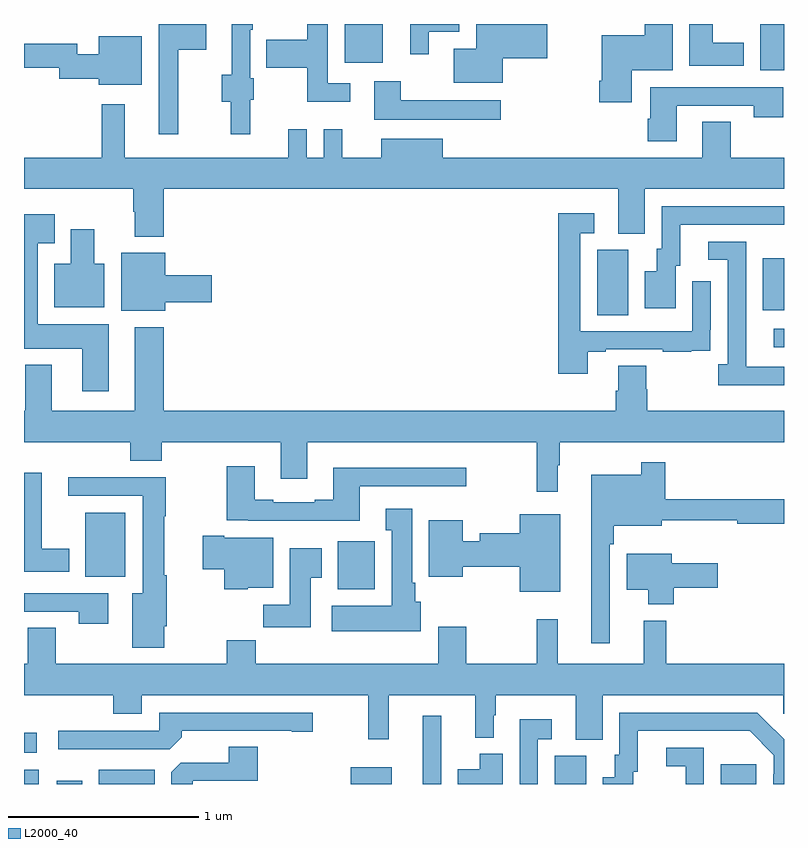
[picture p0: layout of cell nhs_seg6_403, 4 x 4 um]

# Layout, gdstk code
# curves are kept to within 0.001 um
import gdstk
lib = gdstk.Library(unit=1e-6, precision=1e-09)
def R(c, l, rs):  # rectangles x0, y0, x1, y1
    for r in rs: c.add(gdstk.rectangle(r[:2], r[2:], *l))
def P(c, l, *ps):  # polygons
    for p in ps: c.add(gdstk.Polygon(p, *l))
L2000_40 = (2000, 40)

nhs_seg6_403 = lib.new_cell('nhs_seg6_403')
R(nhs_seg6_403, L2000_40, [(133,981.5,133.078,981.574), (133.172,981.5,133.306,981.517), (133.394,981.5,133.687,981.574), (134.72,981.5,134.935,981.589), (135.098,981.5,135.195,981.859), (135.794,981.5,135.958,981.648), (136.667,981.5,136.855,981.604), (133,981.665,133.066,981.769), (134.651,982.526,134.847,982.777), (133.322,982.592,133.534,982.927), (136.947,983.799,137,983.895), (136.016,983.968,136.18,984.312), (136.889,983.993,137,984.268), (136.874,985.256,137,985.5), (134.687,985.295,134.887,985.5)])
P(nhs_seg6_403, L2000_40, [(136.198,985.256),(136.414,985.256),(136.414,985.5),(136.268,985.5),(136.268,985.441),(136.04,985.441),(136.04,985.201),(136.028,985.201),(136.028,985.089),(136.198,985.089)],
  [(135.52,985.319),(135.754,985.319),(135.754,985.5),(135.38,985.5),(135.38,985.369),(135.263,985.369),(135.263,985.19),(135.52,985.19)],
  [(134.192,985.101),(134.208,985.101),(134.208,985.215),(134.19,985.215),(134.19,985.469),(134.203,985.469),(134.203,985.5),(134.093,985.5),(134.093,985.232),(134.042,985.232),(134.042,985.09),(134.089,985.09),(134.089,984.921),(134.192,984.921)],
  [(134.716,985.188),(134.598,985.188),(134.598,985.5),(134.49,985.5),(134.49,985.417),(134.275,985.417),(134.275,985.27),(134.49,985.27),(134.49,985.091),(134.716,985.091)],
  [(133.813,985.364),(133.96,985.364),(133.96,985.5),(133.709,985.5),(133.709,984.921),(133.813,984.921)],
  [(136.789,985.402),(136.624,985.402),(136.624,985.5),(136.502,985.5),(136.502,985.28),(136.789,985.28)],
  [(135.13,985.458),(135.292,985.458),(135.292,985.5),(135.032,985.5),(135.032,985.341),(135.13,985.341)],
  [(133.621,985.435),(133.394,985.435),(133.394,985.34),(133.281,985.34),(133.281,985.397),(133,985.397),(133,985.269),(133.185,985.269),(133.185,985.212),(133.394,985.212),(133.394,985.181),(133.621,985.181)],
  [(135.508,985.099),(134.983,985.099),(134.983,985.198),(134.843,985.198),(134.843,984.995),(135.508,984.995)],
  [(136.435,985.071),(136.84,985.071),(136.84,985.008),(136.996,985.008),(136.996,985.167),(136.295,985.167),(136.295,985.001),(136.283,985.001),(136.283,984.882),(136.435,984.882)],
  [(133.736,984.632),(136.127,984.632),(136.127,984.397),(136.267,984.397),(136.267,984.632),(137,984.632),(137,984.796),(136.719,984.796),(136.719,984.986),(136.571,984.986),(136.571,984.796),(135.205,984.796),(135.205,984.895),(134.879,984.895),(134.879,984.796),(134.675,984.796),(134.675,984.946),(134.577,984.946),(134.577,984.796),(134.487,984.796),(134.487,984.946),(134.39,984.946),(134.39,984.796),(133.531,984.796),(133.531,985.078),(133.41,985.078),(133.41,984.796),(133,984.796),(133,984.632),(133.576,984.632),(133.576,984.512),(133.583,984.512),(133.583,984.38),(133.736,984.38)],
  [(136.429,984.228),(136.453,984.228),(136.453,984.444),(137,984.444),(137,984.54),(136.356,984.54),(136.356,984.318),(136.331,984.318),(136.331,984.199),(136.268,984.199),(136.268,984.003),(136.429,984.003)],
  [(135.967,983.775),(136.063,983.775),(136.063,983.787),(136.363,983.787),(136.363,983.775),(136.511,983.775),(136.511,983.781),(136.613,983.781),(136.613,983.89),(136.614,983.89),(136.614,984.145),(136.518,984.145),(136.518,983.883),(135.927,983.883),(135.927,984.399),(136,984.399),(136,984.505),(135.811,984.505),(135.811,983.658),(135.967,983.658)],
  [(133.447,983.92),(133.072,983.92),(133.072,984.347),(133.162,984.347),(133.162,984.499),(133,984.499),(133,983.792),(133.307,983.792),(133.307,983.568),(133.447,983.568)],
  [(133.423,984.238),(133.369,984.238),(133.369,984.421),(133.247,984.421),(133.247,984.238),(133.16,984.238),(133.16,984.008),(133.423,984.008)],
  [(137,983.697),(136.801,983.697),(136.801,983.897),(136.8,983.897),(136.8,984.354),(136.602,984.354),(136.602,984.258),(136.704,984.258),(136.704,983.71),(136.653,983.71),(136.653,983.6),(137,983.6)],
  [(133.744,984.035),(133.987,984.035),(133.987,984.177),(133.744,984.177),(133.744,984.295),(133.511,984.295),(133.511,983.99),(133.744,983.99)],
  [(133.007,983.707),(133.007,983.464),(133,983.464),(133,983.3),(133.559,983.3),(133.559,983.201),(133.724,983.201),(133.724,983.3),(134.351,983.3),(134.351,983.106),(134.491,983.106),(134.491,983.3),(135.699,983.3),(135.699,983.037),(135.808,983.037),(135.808,983.177),(135.82,983.177),(135.82,983.3),(137,983.3),(137,983.464),(136.28,983.464),(136.28,983.577),(136.275,983.577),(136.275,983.702),(136.127,983.702),(136.127,983.57),(136.115,983.57),(136.115,983.464),(133.736,983.464),(133.736,983.905),(133.583,983.905),(133.583,983.464),(133.147,983.464),(133.147,983.707)],
  [(136.083,982.763),(136.103,982.763),(136.103,982.859),(136.357,982.859),(136.357,982.888),(136.753,982.888),(136.753,982.87),(137,982.87),(137,982.999),(136.376,982.999),(136.376,983.194),(136.248,983.194),(136.248,983.128),(135.986,983.128),(135.986,982.242),(136.083,982.242)],
  [(134.767,983.067),(135.328,983.067),(135.328,983.164),(134.627,983.164),(134.627,982.996),(134.531,982.996),(134.531,982.983),(134.311,982.983),(134.311,982.996),(134.215,982.996),(134.215,983.173),(134.068,983.173),(134.068,982.887),(134.179,982.887),(134.179,982.886),(134.767,982.886)],
  [(133.237,982.738),(133.093,982.738),(133.093,983.137),(133,983.137),(133,982.616),(133.237,982.616)],
  [(133.738,982.33),(133.751,982.33),(133.751,982.6),(133.738,982.6),(133.738,982.909),(133.746,982.909),(133.746,983.114),(133.233,983.114),(133.233,983.016),(133.625,983.016),(133.625,982.504),(133.571,982.504),(133.571,982.218),(133.738,982.218)],
  [(135.088,982.458),(135.058,982.458),(135.058,982.558),(135.043,982.558),(135.043,982.948),(134.903,982.948),(134.903,982.835),(134.936,982.835),(134.936,982.438),(134.619,982.438),(134.619,982.304),(135.088,982.304)],
  [(135.823,982.921),(135.608,982.921),(135.608,982.819),(135.398,982.819),(135.398,982.777),(135.31,982.777),(135.31,982.888),(135.131,982.888),(135.131,982.592),(135.31,982.592),(135.31,982.643),(135.608,982.643),(135.608,982.511),(135.823,982.511)],
  [(134.178,982.532),(134.311,982.532),(134.311,982.795),(134.053,982.795),(134.053,982.807),(133.941,982.807),(133.941,982.63),(134.053,982.63),(134.053,982.526),(134.178,982.526)],
  [(134.509,982.585),(134.566,982.585),(134.566,982.741),(134.399,982.741),(134.399,982.444),(134.26,982.444),(134.26,982.326),(134.509,982.326)],
  [(136.421,982.534),(136.651,982.534),(136.651,982.663),(136.408,982.663),(136.408,982.711),(136.172,982.711),(136.172,982.523),(136.286,982.523),(136.286,982.445),(136.421,982.445)],
  [(133.444,982.503),(133,982.503),(133,982.407),(133.288,982.407),(133.288,982.344),(133.444,982.344)],
  [(136.045,981.968),(136.995,981.968),(136.995,981.87),(137,981.87),(137,982.132),(136.379,982.132),(136.379,982.36),(136.262,982.36),(136.262,982.132),(135.809,982.132),(135.809,982.366),(135.699,982.366),(135.699,982.132),(135.327,982.132),(135.327,982.327),(135.179,982.327),(135.179,982.132),(134.219,982.132),(134.219,982.256),(134.068,982.256),(134.068,982.132),(133.167,982.132),(133.167,982.322),(133.019,982.322),(133.019,982.132),(133,982.132),(133,981.968),(133.469,981.968),(133.469,981.869),(133.621,981.869),(133.621,981.968),(134.811,981.968),(134.811,981.735),(134.921,981.735),(134.921,981.968),(135.374,981.968),(135.374,981.743),(135.472,981.743),(135.472,981.861),(135.484,981.861),(135.484,981.968),(135.905,981.968),(135.905,981.733),(136.045,981.733)],
  [(133.829,981.746),(133.829,981.78),(134.408,981.78),(134.408,981.775),(134.521,981.775),(134.521,981.876),(133.713,981.876),(133.713,981.78),(133.179,981.78),(133.179,981.684),(133.767,981.684)],
  [(136.207,981.564),(136.231,981.564),(136.231,981.78),(136.819,981.78),(136.947,981.651),(136.947,981.551),(136.944,981.551),(136.944,981.5),(137,981.5),(137,981.736),(136.858,981.876),(136.134,981.876),(136.134,981.654),(136.109,981.654),(136.109,981.535),(136.046,981.535),(136.046,981.5),(136.207,981.5)],
  [(135.705,981.735),(135.778,981.735),(135.778,981.841),(135.609,981.841),(135.609,981.5),(135.705,981.5)],
  [(133.887,981.516),(134.231,981.516),(134.231,981.695),(134.078,981.695),(134.078,981.612),(133.824,981.612),(133.775,981.563),(133.775,981.5),(133.887,981.5)],
  [(136.578,981.69),(136.38,981.69),(136.38,981.594),(136.482,981.594),(136.482,981.5),(136.578,981.5)],
  [(135.52,981.658),(135.398,981.658),(135.398,981.577),(135.284,981.577),(135.284,981.5),(135.52,981.5)])

lib.write_gds('nhs_seg6_403.gds')
